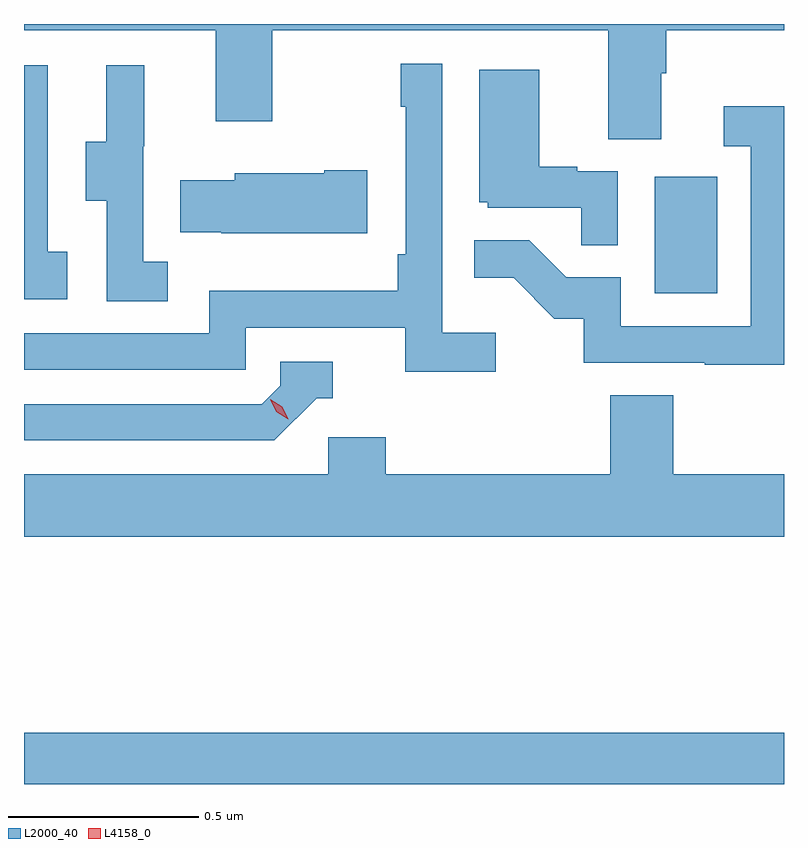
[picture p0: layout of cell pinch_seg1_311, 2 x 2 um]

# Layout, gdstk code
import gdstk
lib = gdstk.Library(unit=1e-6, precision=1e-09)
def R(c, l, rs):  # rectangles x0, y0, x1, y1
    for r in rs: c.add(gdstk.rectangle(r[:2], r[2:], *l))
def P(c, l, *ps):  # polygons
    for p in ps: c.add(gdstk.Polygon(p, *l))
L2000_40 = (2000, 40)
L4158_0 = (4158, 0)

pinch_seg1_311 = lib.new_cell('pinch_seg1_311')
R(pinch_seg1_311, L2000_40, [(946.696,548.417,948.696,548.552), (948.356,549.708,948.52,550.015)])
P(pinch_seg1_311, L2000_40, [(948.373,550.288),(948.386,550.288),(948.386,550.4),(948.696,550.4),(948.696,550.417),(946.696,550.417),(946.696,550.4),(947.201,550.4),(947.201,550.161),(947.349,550.161),(947.349,550.4),(948.233,550.4),(948.233,550.114),(948.373,550.114)],
  [(947.938,549.604),(947.796,549.604),(947.796,550.312),(947.688,550.312),(947.688,550.199),(947.7,550.199),(947.7,549.811),(947.68,549.811),(947.68,549.715),(947.184,549.715),(947.184,549.603),(946.696,549.603),(946.696,549.507),(947.28,549.507),(947.28,549.618),(947.699,549.618),(947.699,549.502),(947.938,549.502)],
  [(947.074,549.791),(947.01,549.791),(947.01,550.095),(947.012,550.095),(947.012,550.309),(946.913,550.309),(946.913,550.107),(946.859,550.107),(946.859,549.952),(946.914,549.952),(946.914,549.688),(947.074,549.688)],
  [(946.81,549.818),(946.758,549.818),(946.758,550.309),(946.696,550.309),(946.696,549.693),(946.81,549.693)],
  [(948.258,550.029),(948.152,550.029),(948.152,550.042),(948.052,550.042),(948.052,550.297),(947.894,550.297),(947.894,549.948),(947.916,549.948),(947.916,549.933),(948.163,549.933),(948.163,549.835),(948.258,549.835)],
  [(948.696,550.201),(948.537,550.201),(948.537,550.095),(948.609,550.095),(948.609,549.621),(948.267,549.621),(948.267,549.75),(948.123,549.75),(948.025,549.848),(947.881,549.848),(947.881,549.749),(947.985,549.749),(948.092,549.642),(948.169,549.642),(948.169,549.525),(948.487,549.525),(948.487,549.52),(948.696,549.52)],
  [(947.599,550.032),(947.486,550.032),(947.486,550.024),(947.25,550.024),(947.25,550.006),(947.107,550.006),(947.107,549.869),(947.215,549.869),(947.215,549.866),(947.599,549.866)],
  [(947.466,549.432),(947.509,549.432),(947.509,549.528),(947.37,549.528),(947.37,549.465),(947.322,549.417),(946.696,549.417),(946.696,549.321),(947.355,549.321)],
  [(948.696,549.232),(948.404,549.232),(948.404,549.44),(948.239,549.44),(948.239,549.232),(947.648,549.232),(947.648,549.33),(947.496,549.33),(947.496,549.232),(946.696,549.232),(946.696,549.068),(948.696,549.068)])
P(pinch_seg1_311, L4158_0, [(947.391,549.377),(947.36,549.397),(947.344,549.429),(947.344,549.43),(947.344,549.43),(947.375,549.41),(947.392,549.378),(947.392,549.377)])

lib.write_gds('pinch_seg1_311.gds')
